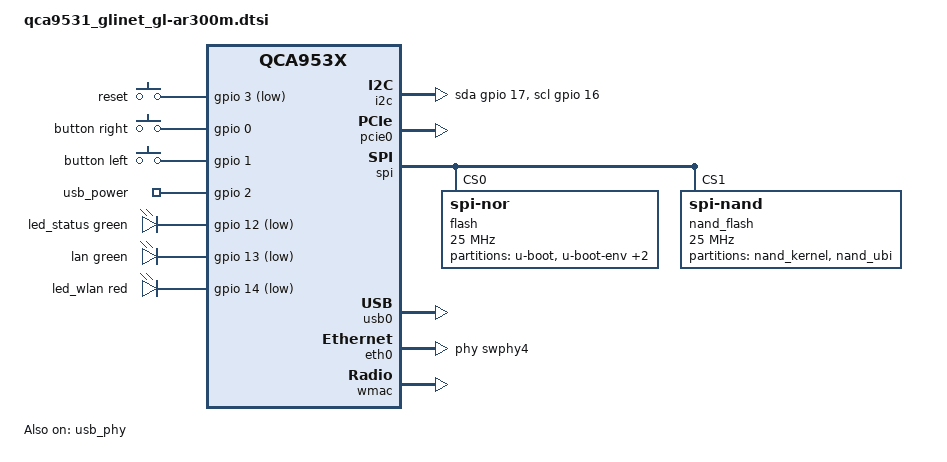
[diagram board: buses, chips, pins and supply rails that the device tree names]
#include "qca953x.dtsi"

#include <dt-bindings/gpio/gpio.h>
#include <dt-bindings/input/input.h>
#include <dt-bindings/leds/common.h>

/ {
	aliases {
		led-boot = &led_status;
		led-failsafe = &led_status;
		led-running = &led_status;
		led-upgrade = &led_status;
		label-mac-device = &eth0;
	};

	keys {
		compatible = "gpio-keys";

		pinctrl-names = "default";
		pinctrl-0 = <&jtag_disable_pins>;

		reset {
			label = "reset";
			linux,code = <KEY_RESTART>;
			gpios = <&gpio 3 GPIO_ACTIVE_LOW>;
		};

		right {
			label = "button right";
			linux,code = <BTN_0>;
			gpios = <&gpio 0 GPIO_ACTIVE_HIGH>;
		};

		left {
			label = "button left";
			linux,code = <BTN_1>;
			gpios = <&gpio 1 GPIO_ACTIVE_HIGH>;
		};
	};

	gpio-export {
		compatible = "gpio-export";

		gpio_usb_power {
			gpio-export,name = "usb_power";
			gpio-export,output = <1>;
			gpios = <&gpio 2 GPIO_ACTIVE_HIGH>;
		};
	};

	leds {
		compatible = "gpio-leds";

		// Colors for non-Lite versions

		led_status: status {
			function = LED_FUNCTION_STATUS;
			color = <LED_COLOR_ID_GREEN>;
			gpios = <&gpio 12 GPIO_ACTIVE_LOW>;
		};

		lan {
			function = LED_FUNCTION_LAN;
			color = <LED_COLOR_ID_GREEN>;
			gpios = <&gpio 13 GPIO_ACTIVE_LOW>;
		};

		led_wlan: wlan {
			function = LED_FUNCTION_WLAN;
			color = <LED_COLOR_ID_RED>;
			gpios = <&gpio 14 GPIO_ACTIVE_LOW>;
			linux,default-trigger = "phy0tpt";
		};
	};

	i2c: i2c {
		compatible = "i2c-gpio";

		sda-gpios = <&gpio 17 (GPIO_ACTIVE_HIGH|GPIO_OPEN_DRAIN)>;
		scl-gpios = <&gpio 16 (GPIO_ACTIVE_HIGH|GPIO_OPEN_DRAIN)>;
	};
};

&pcie0 {
	status = "okay";
};

&spi {
	status = "okay";

	flash@0 {
		compatible = "jedec,spi-nor";
		reg = <0>;
		spi-max-frequency = <25000000>;

		partitions {
			compatible = "fixed-partitions";
			#address-cells = <1>;
			#size-cells = <1>;

			partition@0 {
				label = "u-boot";
				reg = <0x000000 0x040000>;
				read-only;
			};

			partition@40000 {
				label = "u-boot-env";
				reg = <0x040000 0x010000>;
			};

			nor_firmware: partition@50000 {
				label = "nor_firmware";
				reg = <0x050000 0xfa0000>;
			};

			art: partition@ff0000 {
				label = "art";
				reg = <0xff0000 0x010000>;
				read-only;

				nvmem-layout {
					compatible = "fixed-layout";
					#address-cells = <1>;
					#size-cells = <1>;

					macaddr_art_0: macaddr@0 {
						compatible = "mac-base";
						reg = <0x0 0x6>;
						#nvmem-cell-cells = <1>;
					};
				};
			};
		};
	};

	nand_flash: flash@1 {
		compatible = "spi-nand";
		reg = <1>;
		spi-max-frequency = <25000000>;

		partitions {
			compatible = "fixed-partitions";
			#address-cells = <1>;
			#size-cells = <1>;

			nand_kernel: partition@0 {
				label = "nand_kernel";
				reg = <0x000000 0x400000>;
			};

			nand_ubi: partition@400000 {
				label = "nand_ubi";
				reg = <0x400000 0x7c00000>;
			};
		};
	};
};

&usb0 {
	status = "okay";
};

&usb_phy {
	status = "okay";
};

&eth0 {
	status = "okay";

	phy-handle = <&swphy4>;

	nvmem-cells = <&macaddr_art_0 0>;
	nvmem-cell-names = "mac-address";
};

&eth1 {
	nvmem-cells = <&macaddr_art_0 1>;
	nvmem-cell-names = "mac-address";
};

&wmac {
	status = "okay";
	mtd-cal-data = <&art 0x1000>;
};

&pinmux {
	pinctrl-names = "default";
	pinctrl-0 = <&enable_gpio17>;

	enable_gpio17: pinmux_enable_gpio17 {
		pinctrl-single,bits = <0x10 0x0000 0xff00>;
	};
};
